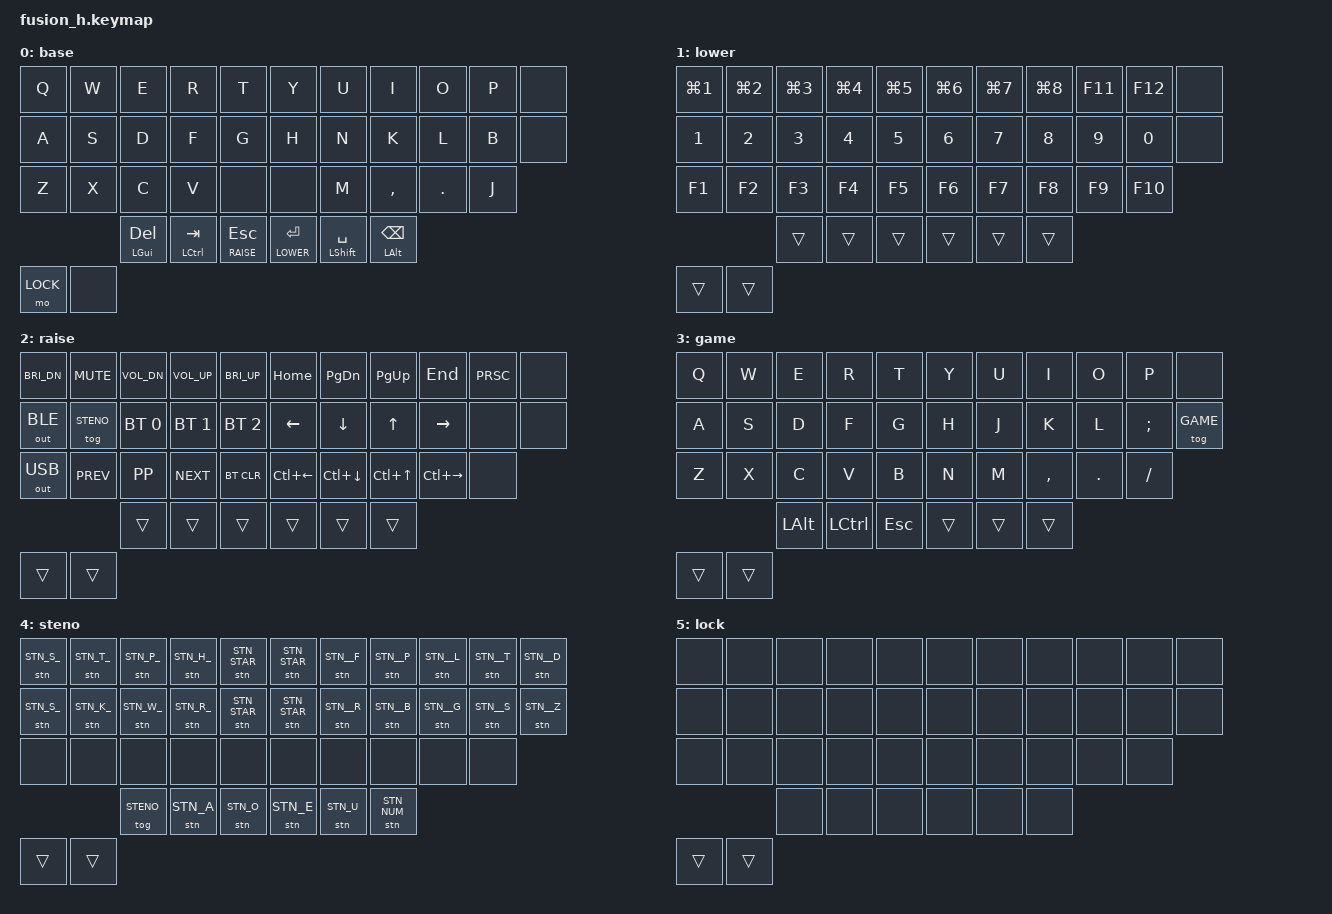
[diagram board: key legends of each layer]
/*
 * Copyright (c) 2020 The ZMK Contributors
 *
 * SPDX-License-Identifier: MIT
 */

#include <behaviors.dtsi>
#include <dt-bindings/zmk/keys.h>
#include <dt-bindings/zmk/bt.h>
#include <dt-bindings/zmk/outputs.h>
#include "../steno/impl/zmk/steno_keys.h"

#define CONCAT2(x, y) x ## y
#define CONCAT(x, y) CONCAT2(x, y)
/ {
    behaviors {
        // My Modtap
		mm: behavior_mod_tap {
			compatible = "zmk,behavior-hold-tap";
			label = "MOD_TAP";
			#binding-cells = <2>;
			flavor = "balanced";
			tapping-term-ms = <150>;
			bindings = <&kp>, <&kp>;
		};
        // My Layertap
		ml: behavior_layer_tap {
			compatible = "zmk,behavior-hold-tap";
			label = "LAYER_TAP";
			#binding-cells = <2>;
			flavor = "hold-preferred";
			tapping-term-ms = <150>;
			bindings = <&mo>, <&kp>;
		};
#define MACRO(_label, keys) m_##_label: CONCAT(macro, __COUNTER__) { compatible = "zmk,behavior-macro"; label = #_label; bindings = <keys>; #binding-cells = <0>; sleep = <3>; };
        /* MACRO(stn, &kp SPACE &kp S &kp T &kp E &kp N) */
    };
    combos {
        compatible = "zmk,combos";
#define COMBO(pos, k) CONCAT(combo, __COUNTER__) { key-positions = <pos>; bindings = <&kp k>; layers = <0 1 2 3>; timeout-ms = <60>; };
#define COMBO_M(pos, k) CONCAT(combo, __COUNTER__) { key-positions = <pos>; bindings = <&m_##k>; layers = <0 1 2 3>; timeout-ms = <60>; };
        COMBO(1 2, PERCENT)
        COMBO(2 3, BSLH)
        COMBO(3 4, LBKT)
        COMBO(7 8, RBKT)
        COMBO(8 9, EQUAL)
        COMBO(9 10, PLUS)

        COMBO(13 14, CARET)
        COMBO(14 15, DOLLAR)
        COMBO(15 16, LPAR)
        COMBO(19 20, RPAR)
        COMBO(20 21, SEMI)
        COMBO(21 22, COLON)

        COMBO(24 25, EXCL)
        COMBO(25 26, AT)
        COMBO(26 27, LBRC)
        COMBO(30 31, RBRC)
        COMBO(31 32, FSLH)
        COMBO(32 33, QMARK)

        COMBO(2 14, GRAVE)
        COMBO(3 15, AMPS)
        COMBO(4 16, STAR)
        COMBO(7 19, UNDER)
        COMBO(8 20, DQT)
        COMBO(9 21, SQT)

        COMBO(14 25, TILDE)
        COMBO(15 26, PIPE)
        COMBO(16 27, HASH)
        COMBO(19 30, MINUS)
        COMBO(20 31, LT)
        COMBO(21 32, GT)

        /* COMBO_M(12 4 27, stn) */
    };
#define BASE 0
#define LOWER 1
#define RAISE 2
#define GAME  3
#define STENO 4
#define LOCK 5

    keymap0: keymap {
        compatible = "zmk,keymap";
        base {
            bindings = <
&kp Q        &kp W       &kp E        &kp R         &kp T         &kp Y         &kp U         &kp I        &kp O         &kp P       &none
&kp A        &kp S       &kp D        &kp F         &kp G         &kp H         &kp N         &kp K        &kp L         &kp B       &none
&kp Z        &kp X       &kp C        &kp V         &none         &none         &kp M         &kp COMMA    &kp DOT       &kp J
                         &mm LGUI DEL &mm LCTRL TAB &ml RAISE ESC &ml LOWER RET &mm LSHFT SPC &mm LALT BSPC
&mo LOCK  &none
            >;
        };
        lower {
            bindings = <
&kp LG(N1)   &kp LG(N2)  &kp LG(N3)   &kp LG(N4)    &kp LG(N5)    &kp LG(N6)    &kp LG(N7)    &kp LG(N8)   &kp F11       &kp F12     &none
&kp N1       &kp N2      &kp N3       &kp N4        &kp N5        &kp N6        &kp N7        &kp N8       &kp N9        &kp N0      &none
&kp F1       &kp F2      &kp F3       &kp F4        &kp F5        &kp F6        &kp F7        &kp F8       &kp F9        &kp F10
                         &trans       &trans        &trans        &trans        &trans        &trans
&trans    &trans
            >;
        };

        raise {
            bindings = <
&kp C_BRI_DN &kp C_MUTE  &kp C_VOL_DN &kp C_VOL_UP  &kp C_BRI_UP  &kp HOME      &kp PG_DN     &kp PG_UP    &kp END       &kp PRSC    &none
&out OUT_BLE &tog STENO  &bt BT_SEL 0 &bt BT_SEL 1  &bt BT_SEL 2  &kp LEFT      &kp DOWN      &kp UP       &kp RIGHT     &none       &none
&out OUT_USB &kp K_PREV  &kp K_PP     &kp K_NEXT    &bt BT_CLR    &kp LC(LEFT)  &kp LC(DOWN)  &kp LC(UP)   &kp LC(RIGHT) &none
                         &trans       &trans        &trans        &trans        &trans        &trans
&trans    &trans
            >;
        };

        game {
            bindings = <
&kp Q        &kp W       &kp E        &kp R         &kp T         &kp Y         &kp U         &kp I        &kp O         &kp P       &none
&kp A        &kp S       &kp D        &kp F         &kp G         &kp H         &kp J         &kp K        &kp L         &kp SEMI    &tog GAME
&kp Z        &kp X       &kp C        &kp V         &kp B         &kp N         &kp M         &kp COMMA    &kp DOT       &kp FSLH
                         &kp LALT     &kp LCTRL     &kp ESC       &trans        &trans        &trans
&trans    &trans
            >;
        };

        steno {
            bindings = <
&stn STN_S_  &stn STN_T_ &stn STN_P_  &stn STN_H_   &stn STN_STAR &stn STN_STAR &stn STN__F   &stn STN__P  &stn STN__L   &stn STN__T &stn STN__D
&stn STN_S_  &stn STN_K_ &stn STN_W_  &stn STN_R_   &stn STN_STAR &stn STN_STAR &stn STN__R   &stn STN__B  &stn STN__G   &stn STN__S &stn STN__Z
&none        &none       &none        &none         &none         &none         &none         &none        &none         &none
                         &tog STENO   &stn STN_A    &stn STN_O    &stn STN_E    &stn STN_U    &stn STN_NUM
&trans    &trans
            >;
        };

        lock {
            bindings = <
&none        &none       &none        &none         &none         &none         &none         &none        &none         &none       &none      
&none        &none       &none        &none         &none         &none         &none         &none        &none         &none       &none
&none        &none       &none        &none         &none         &none         &none         &none        &none         &none
                         &none        &none         &none         &none         &none         &none
&trans    &trans
            >;
        };
    };
};
